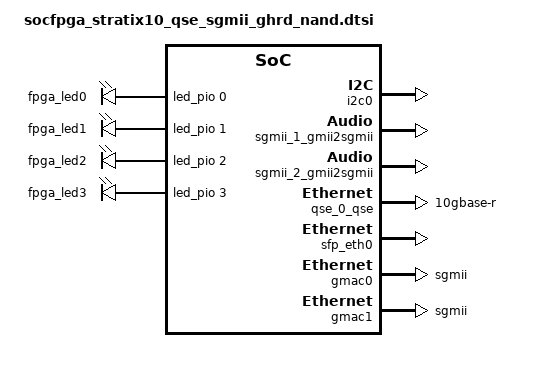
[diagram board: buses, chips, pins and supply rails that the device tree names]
/*
* Add this piece of dtsi fragment as #include "socfpga_stratix10_qse.dtsi"
* in the file socfpga_stratix10_socdk.dts. Compile it in the kernel along with
* socfpga_stratix10.dtsi.
*/

/{
	soc {
		led_pio: gpio@f9001080 {
				compatible = "altr,pio-1.0";
				reg = <0xf9001080 0x8>;
				altr,gpio-bank-width = <4>;
				#gpio-cells = <2>;
				gpio-controller;
				resetvalue = <0>;
		};

		button_pio: gpio@f9001060 {
				compatible = "altr,pio-1.0";
				reg = <0xf9001060 0x10>;
				interrupt-parent = <&intc>;
				interrupts = <0 18 4>;
				altr,gpio-bank-width = <4>;
				altr,interrupt-type = <2>;
				#gpio-cells = <2>;
				gpio-controller;
		};

		dipsw_pio: gpio@f9001070 {
				compatible = "altr,pio-1.0";
				reg = <0xf9001070 0x10>;
				interrupt-parent = <&intc>;
				interrupts = <0 17 4>;
				altr,gpio-bank-width = <4>;
				altr,interrupt-type = <3>;
				#gpio-cells = <2>;
				gpio-controller;
		};

		trigger_pio: gpio@f9001040 {
				compatible = "altr,pio-1.0";
				reg = <0xf9001040 0x20>;
				altr,gpio-bank-width = <4>;
				#gpio-cells = <2>;
				gpio-controller;
				resetvalue = <0>;
		};

		soc_leds: leds {
			compatible = "gpio-leds";

			led_fpga0: fpga0 {
					label = "fpga_led0";
					gpios = <&led_pio 0 0>;
			}; //end fpga0 (led_fpga0)

			led_fpga1: fpga1 {
					label = "fpga_led1";
					gpios = <&led_pio 1 0>;
			}; //end fpga1 (led_fpga1)

			led_fpga2: fpga2 {
					label = "fpga_led2";
					gpios = <&led_pio 2 0>;
			}; //end fpga2 (led_fpga2)

			led_fpga3: fpga3 {
					label = "fpga_led3";
					gpios = <&led_pio 3 0>;
			}; //end fpga3 (led_fpga3)
		};

		clocks {
			ptp_ctrl_10G_clk: ptp_ctrl_10G_clk {
				#clock-cells = <0>;
				compatible = "fixed-clock";
				clock-frequency = <125000000>;
				clock-output-names = "ptp_ctrl_10G_clk-clk";
			};

			sgmii_1_clk_0: sgmii_1_clk_0 {
				compatible = "fixed-clock";
				#clock-cells = <0>;
				clock-frequency = <125000000>;	/* 125.00 MHz */
				clock-output-names = "sgmii_1_clk_0-out_clk";
			}; //end sgmii_1_clk_0 (sgmii_1_clk_0)

			sgmii_1_clk_125: sgmii_1_clk_125 {
				compatible = "fixed-clock";
				#clock-cells = <0>;
				clock-frequency = <125000000>;	/* 125.00 MHz */
				clock-output-names = "sgmii_1_clk_125-out_clk";
			}; //end sgmii_1_clk_125 (sgmii_1_clk_125)

			sgmii_2_clk_0: sgmii_2_clk_0 {
				compatible = "fixed-clock";
				#clock-cells = <0>;
				clock-frequency = <125000000>;	/* 125.00 MHz */
				clock-output-names = "sgmii_2_clk_0-out_clk";
			}; //end sgmii_2_clk_0 (sgmii_2_clk_0)

			sgmii_2_clk_125: sgmii_2_clk_125 {
				compatible = "fixed-clock";
				#clock-cells = <0>;
				clock-frequency = <125000000>;	/* 125.00 MHz */
				clock-output-names = "sgmii_2_clk_125-out_clk";
			}; //end sgmii_2_clk_125 (sgmii_2_clk_125)
		};

		i2c0: i2c@ffc02800 {
			status = "okay";
		};

		s10_hps_bridges: bridge@80000000 {
			compatible = "altr,bridge-18.1","simple-bus";
			reg = <0x80000000 0x60000000>,
				<0xf9000000 0x00100000>;
			reg-names = "axi_h2f", "axi_h2f_lw";
			#address-cells = <0x2>;
			#size-cells = <0x1>;
			ranges = <0x00000000 0x00000000 0x80000000 0x00040000>,
				<0x00000000 0x10000000 0x90000000 0x10000000>,
				<0x00000000 0x20000000 0xa0000000 0x00200000>,
				<0x00000001 0x00010000 0xf9010000 0x00008000>,
				<0x00000001 0x00018000 0xf9018000 0x00000080>,
				<0x00000001 0x00018080 0xf9018080 0x00000010>,
				<0x00000001 0x00020000 0xf9020000 0x00001000>,
				<0x00000001 0x00022000 0xf9022000 0x00002000>,
				<0x00000001 0x00030000 0xf9030000 0x00000040>,
				<0x00000001 0x00002020 0xf9002020 0x00000020>,
				<0x00000001 0x00002000 0xf9002000 0x00000020>,
				<0x00000001 0x00002120 0xf9002120 0x00000020>,
				<0x00000001 0x00002100 0xf9002100 0x00000020>,
				<0x00000001 0x00002140 0xf9002140 0x00000020>,
				<0x00000001 0x00030100 0xf9030100 0x00000010>,
				<0x00000001 0x00000300 0xf9000300 0x00000010>,
				<0x00000001 0x00000310 0xf9000310 0x00000010>,
				<0x00000001 0x00003000 0xf9003000 0x00000040>,
				<0x00000001 0x00003040 0xf9003040 0x00000008>,
				<0x00000001 0x00003080 0xf9003080 0x00000040>,
				<0x00000001 0x000030c0 0xf90030c0 0x00000008>;

			sgmii_1_gmii2sgmii: sgmii1@0x100003000 {
				compatible = "altr,gmii-to-sgmii-2.0";
				reg = <0x00000001 0x00003000 0x00000040>,
				      <0x00000001 0x00003040 0x00000008>;
				reg-names = "eth_tse_control_port", "gmii_to_sgmii_adapter_avalon_slave";
				clocks = <&sgmii_1_clk_0 &gmac0 1 &sgmii_1_clk_125 &sgmii_1_clk_125>;
				clock-names = "clock_in", "emac_gtx_clk", "tse_pcs_ref_clk_clock_connection", "tse_rx_cdr_refclk";
			};

			sgmii_2_gmii2sgmii: sgmii2@100003080 {
				compatible = "altr,gmii-to-sgmii-2.0";
				reg = <0x00000001 0x00003080 0x00000040>,
					<0x00000001 0x000030c0 0x00000008>;
				reg-names = "eth_tse_control_port", "gmii_to_sgmii_adapter_avalon_slave";
				clocks = <&sgmii_2_clk_0 &gmac1 1 &sgmii_2_clk_125 &sgmii_2_clk_125>;
				clock-names = "clock_in", "emac_gtx_clk", "tse_pcs_ref_clk_clock_connection", "tse_rx_cdr_refclk";
			};

			qse_0_qse: ethernet@100020000 {
				compatible = "altr,qse-msgdma-2.0";
				reg-names = "control_port", "xcvr_ctrl", "tod_ctrl",
						"tx_csr", "tx_pref", "rx_csr", "rx_pref",
						"rx_fifo", "phy_reconfig_csr";
				reg = <0x00000001 0x00020000 0x00001000>,
					<0x00000001 0x00022000 0x00002000>,
					<0x00000001 0x00030000 0x00000040>,
					<0x00000001 0x00002020 0x00000020>,
					<0x00000001 0x00002000 0x00000020>,
					<0x00000001 0x00002120 0x00000020>,
					<0x00000001 0x00002100 0x00000020>,
					<0x00000001 0x00002140 0x00000020>,
					<0x00000001 0x00030100 0x00000010>;
				dma-coherent;
				phy-mode = "10gbase-r";
				sfp = <&sfp_eth0>;
				clocks = <&ptp_ctrl_10G_clk>;
				clock-names = "tod_clk";
				interrupt-parent = <&intc>;
				interrupt-names = "tx_irq", "rx_irq";
				interrupts = <0 21 4>,
						<0 22 4>;
				rx-fifo-depth = <0x20000>;
				tx-fifo-depth = <0x1000>;
				rx-fifo-almost-full = <0x10000>;
				rx-fifo-almost-empty = <0x8000>;
				local-mac-address = [00 00 00 00 00 00];
				altr,tx-pma-delay-ns = <0xD>;
				altr,rx-pma-delay-ns = <0x8>;
				altr,tx-pma-delay-fns = <0x24D>;
				altr,rx-pma-delay-fns = <0x3E97>;
				altr,has-ptp;
				status = "okay";
			};

			sfp_eth0: sfp-eth0 {
				compatible = "sff,sfp";
				i2c-bus = <&i2c0>;
				los-gpio = <&mge_10g_status_pio 0 GPIO_ACTIVE_HIGH>;
				mod-def0-gpio = <&mge_10g_status_pio 2 GPIO_ACTIVE_LOW>;
				maximum-power-milliwatt = <1000>;
				pinctrl-names = "default";
				pinctrl-0 = <&sfp_ctrl_pio &mge_10g_status_pio>;
				tx-disable-gpio = <&sfp_ctrl_pio 0 GPIO_ACTIVE_HIGH>;
				tx-fault-gpio = <&mge_10g_status_pio 1 GPIO_ACTIVE_HIGH>;
				rate-select0-gpio = <&sfp_ctrl_pio 2 GPIO_ACTIVE_HIGH>;
			};

			sfp_ctrl_pio: gpio@100000300 {
				compatible = "altr,pio-1.0";
				reg = <0x00000001 0x00000300 0x10>;
				interrupt-parent = <&intc>;
				interrupts = <0 23 4>;
				altr,gpio-bank-width = <4>;
				altr,interrupt-type = <2>;
				#gpio-cells = <2>;
				gpio-controller;
			};

			mge_10g_status_pio: gpio@100000310 {
				compatible = "altr,pio-1.0";
				reg = <0x00000001 0x00000310 0x10>;
				interrupt-parent = <&intc>;
				interrupts = <0 24 4>;
				altr,gpio-bank-width = <4>;
				altr,interrupt-type = <2>;
				#gpio-cells = <2>;
				gpio-controller;
			};
		};
	};
};

&gmac0 {
	altr,gmii-to-sgmii-converter = <&sgmii_1_gmii2sgmii>;
	phy-mode = "sgmii";
	status = "okay";
};

&gmac1 {
	altr,gmii-to-sgmii-converter = <&sgmii_2_gmii2sgmii>;
	phy-mode = "sgmii";
	status = "okay";
};
